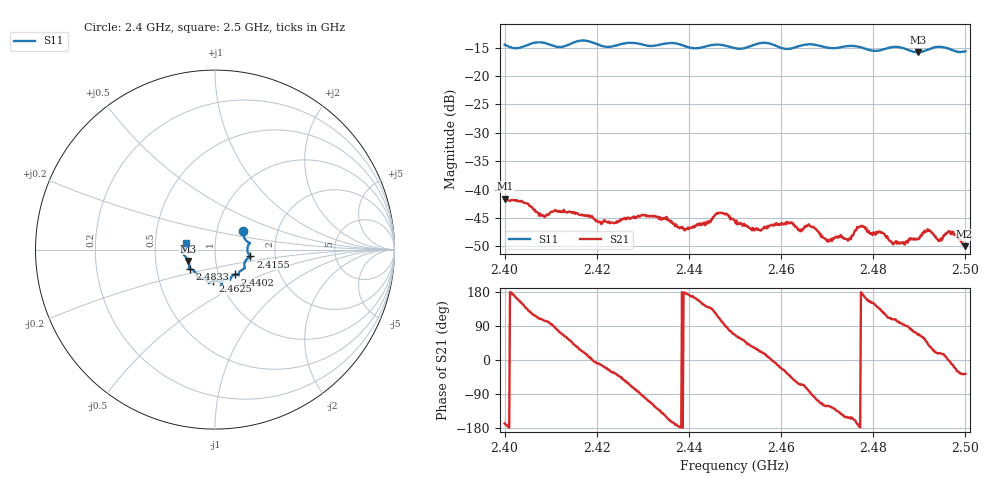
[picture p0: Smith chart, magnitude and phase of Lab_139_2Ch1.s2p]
# Hz S RI R 50
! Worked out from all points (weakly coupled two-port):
!   601 points, 2.4 GHz to 2.5 GHz, reference 50 ohm
!   highest |S21| = -41.57 dB at 2.4002 GHz (marker M1); lowest = -50.0 dB at 2.4998 GHz (marker M2)
!   lowest |S11| = -15.8 dB at 2.4897 GHz (marker M3), VSWR 1.39, Z = 36.8 - j4.84 ohm
!   |S11| at or under -10 dB: start of sweep to end of sweep
!   S12 and S22 are empty: the file has one direction only
!   S11 on the Smith chart (normalised r, x): 2.4 GHz: 1.33, +0.29; 2.4155 GHz: 1.48, -0.12; 2.4402 GHz: 1.20, -0.34; 2.4625 GHz: 0.92, -0.33; 2.4833 GHz: 0.74, -0.17; 2.5 GHz: 0.72, +0.06
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2.4e9  0.1565 0.1052  -0.00803 -0.00181  0 0  0 0
2.400167e9  0.1564 0.103  -0.0082 -0.00154  0 0  0 0
2.4085e9  0.193 0.0353  -0.00145 0.0057  0 0  0 0
2.4155e9  0.1969 -0.0384  0.00496 0.00373  0 0  0 0
2.416667e9  0.201 -0.0425  0.00543 0.00248  0 0  0 0
2.423333e9  0.1638 -0.0797  0.00432 -0.00277  0 0  0 0
2.433333e9  0.1323 -0.1333  -0.00365 -0.00434  0 0  0 0
2.440167e9  0.112 -0.1383  -0.00455 0.000779  0 0  0 0
2.4465e9  0.0843 -0.1694  -0.0023 0.00581  0 0  0 0
2.45e9  0.0645 -0.1636  0.00213 0.00488  0 0  0 0
2.455333e9  0.0369 -0.1909  0.00408 0.00168  0 0  0 0
2.4625e9  -0.011 -0.1757  0.00331 -0.00386  0 0  0 0
2.466667e9  -0.0344 -0.1869  -6.71e-05 -0.00469  0 0  0 0
2.470167e9  -0.0502 -0.1704  -0.00184 -0.00313  0 0  0 0
2.474667e9  -0.0904 -0.1603  -0.0032 -0.00166  0 0  0 0
2.4775e9  -0.0983 -0.1485  -0.00473 0.000334  0 0  0 0
2.483333e9  -0.1394 -0.1094  -0.00132 0.00336  0 0  0 0
2.489667e9  -0.1485 -0.064  0.00141 0.00337  0 0  0 0
2.491667e9  -0.1649 -0.039  0.00296 0.00313  0 0  0 0
2.496833e9  -0.171 -0.00732  0.00401 -0.000553  0 0  0 0
2.499833e9  -0.1605 0.036  0.00252 -0.00194  0 0  0 0
2.5e9  -0.1608 0.0388  0.00268 -0.00198  0 0  0 0
